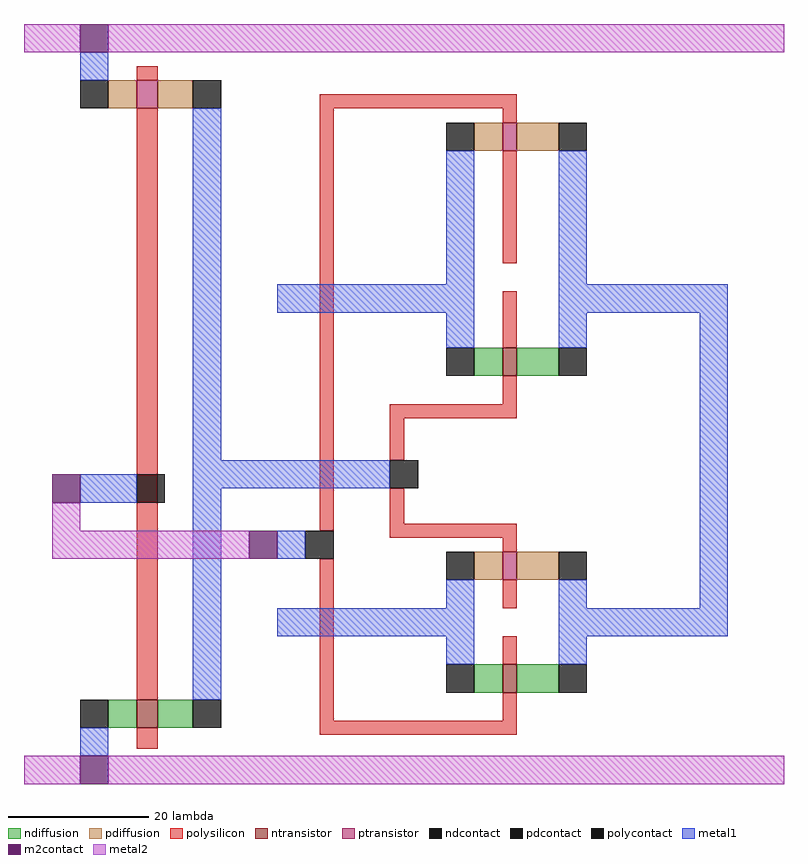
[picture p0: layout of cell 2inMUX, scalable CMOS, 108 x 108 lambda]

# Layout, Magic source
magic
tech scmos
<< polysilicon >>
rect 10 96 38 98
rect 10 36 12 96
rect 36 94 38 96
rect 36 74 38 90
rect 36 62 38 70
rect 36 54 38 58
rect 20 52 38 54
rect 20 46 22 52
rect 20 37 22 42
rect 20 35 38 37
rect 36 33 38 35
rect 10 9 12 32
rect 36 25 38 29
rect 36 17 38 21
rect 36 9 38 13
rect 10 7 38 9
<< ndiffusion >>
rect 32 58 36 62
rect 38 58 44 62
rect 32 13 36 17
rect 38 13 44 17
<< pdiffusion >>
rect 32 90 36 94
rect 38 90 44 94
rect 32 29 36 33
rect 38 29 44 33
<< metal1 >>
rect 28 71 32 90
rect 4 67 32 71
rect 28 62 32 67
rect 44 71 48 90
rect 44 67 68 71
rect 44 62 48 67
rect -24 40 -16 44
rect -7 42 20 46
rect 4 32 8 36
rect 28 25 32 29
rect 4 21 32 25
rect 28 17 32 21
rect 44 25 48 29
rect 64 25 68 67
rect 44 21 68 25
rect 44 17 48 21
<< metal2 >>
rect -32 104 -28 108
rect 0 104 76 108
rect -28 36 -24 40
rect -28 32 0 36
rect -32 0 -28 4
rect 0 0 76 4
<< ntransistor >>
rect 36 58 38 62
rect 36 13 38 17
<< ptransistor >>
rect 36 90 38 94
rect 36 29 38 33
<< polycontact >>
rect -16 40 -12 44
rect 8 32 12 36
rect 20 42 24 46
<< ndcontact >>
rect 28 58 32 62
rect 44 58 48 62
rect 28 13 32 17
rect 44 13 48 17
<< pdcontact >>
rect 28 90 32 94
rect 44 90 48 94
rect 28 29 32 33
rect 44 29 48 33
<< m2contact >>
rect -28 40 -24 44
rect 0 32 4 36
use inv  inv_0
transform 1 0 -28 0 1 0
box 0 0 28 108
<< end >>

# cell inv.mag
magic
tech scmos
<< polysilicon >>
rect 12 100 15 102
rect 12 12 15 96
rect 12 5 15 8
<< ndiffusion >>
rect 8 8 12 12
rect 15 8 20 12
<< pdiffusion >>
rect 8 96 12 100
rect 15 96 20 100
<< metal1 >>
rect 4 100 8 104
rect 20 12 24 96
rect 4 4 8 8
<< metal2 >>
rect 0 104 4 108
rect 8 104 28 108
rect 0 0 4 4
rect 8 0 28 4
<< ntransistor >>
rect 12 8 15 12
<< ptransistor >>
rect 12 96 15 100
<< ndcontact >>
rect 4 8 8 12
rect 20 8 24 12
<< pdcontact >>
rect 4 96 8 100
rect 20 96 24 100
<< m2contact >>
rect 4 104 8 108
rect 4 0 8 4
<< end >>
